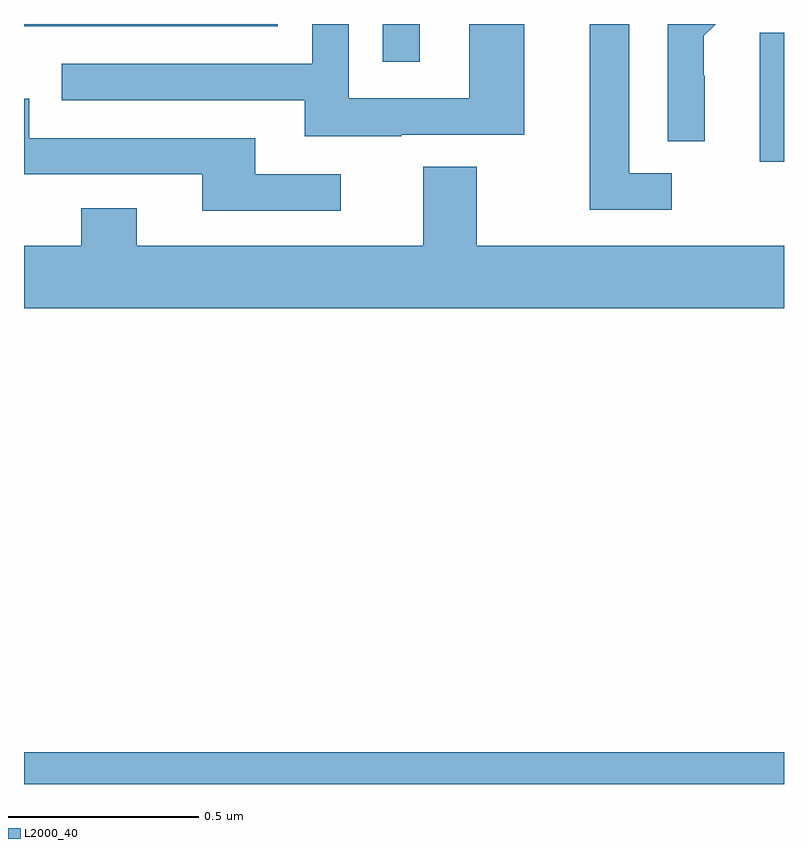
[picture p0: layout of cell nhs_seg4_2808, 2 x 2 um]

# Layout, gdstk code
import gdstk
lib = gdstk.Library(unit=1e-6, precision=1e-09)
def R(c, l, rs):  # rectangles x0, y0, x1, y1
    for r in rs: c.add(gdstk.rectangle(r[:2], r[2:], *l))
def P(c, l, *ps):  # polygons
    for p in ps: c.add(gdstk.Polygon(p, *l))
L2000_40 = (2000, 40)

nhs_seg4_2808 = lib.new_cell('nhs_seg4_2808')
R(nhs_seg4_2808, L2000_40, [(145,796.9,147,796.984), (146.936,798.537,147,798.877), (145.944,798.801,146.041,798.9), (145,798.894,145.668,798.9)])
P(nhs_seg4_2808, L2000_40, [(145.993,798.609),(146.317,798.609),(146.317,798.9),(146.172,798.9),(146.172,798.705),(145.854,798.705),(145.854,798.9),(145.758,798.9),(145.758,798.795),(145.099,798.795),(145.099,798.699),(145.739,798.699),(145.739,798.605),(145.993,798.605)],
  [(146.791,798.764),(146.789,798.764),(146.789,798.869),(146.82,798.9),(146.694,798.9),(146.694,798.592),(146.791,798.592)],
  [(146.704,798.507),(146.593,798.507),(146.593,798.9),(146.489,798.9),(146.489,798.411),(146.704,798.411)],
  [(145.834,798.504),(145.609,798.504),(145.609,798.6),(145.014,798.6),(145.014,798.703),(145,798.703),(145,798.504),(145.469,798.504),(145.469,798.408),(145.834,798.408)],
  [(147,798.316),(146.191,798.316),(146.191,798.524),(146.051,798.524),(146.051,798.316),(145.297,798.316),(145.297,798.415),(145.15,798.415),(145.15,798.316),(145,798.316),(145,798.152),(147,798.152)])

lib.write_gds('nhs_seg4_2808.gds')
